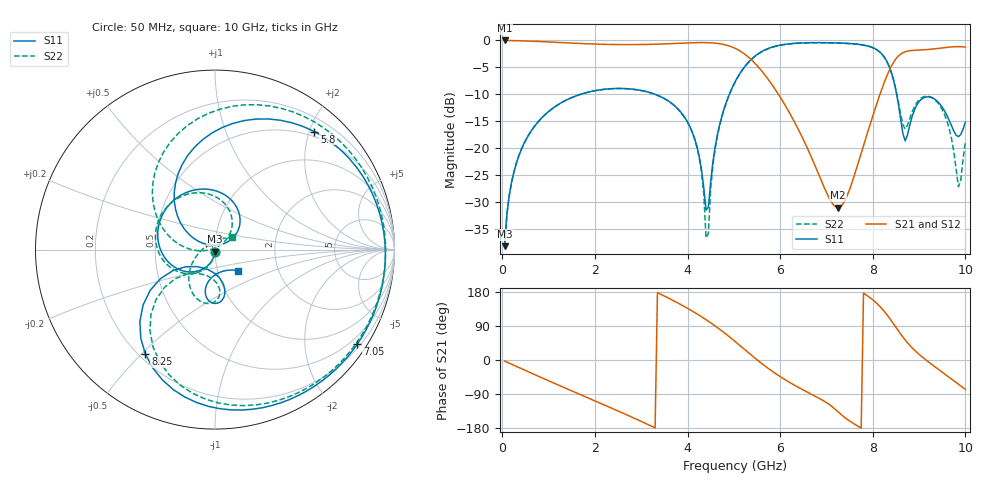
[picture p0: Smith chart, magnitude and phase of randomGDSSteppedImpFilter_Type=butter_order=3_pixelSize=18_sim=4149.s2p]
! freq	dB(S11)	phase(S11)	dB(S12)	phase(S12)
!  dB(S21)	phase(S21)	dB(S22)	phase(S22)
!S-par simulation data
#  GHz  S  DB  R 50
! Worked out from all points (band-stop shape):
!   200 points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, 50 MHz to 10 GHz, reference 50 ohm
!   highest |S21| = -0.01 dB at 50 MHz (marker M1); lowest = -31.0 dB at 7.25 GHz (marker M2)
!   |S21| within 3 dB of the highest: start of sweep to 5.302 GHz; 8.542 GHz to end of sweep
!   lowest |S11| = -38.2 dB at 50 MHz (marker M3), VSWR 1.02, Z = 49.9 - j1.23 ohm
!   |S11| at or under -10 dB: start of sweep to 1.691 GHz; 3.299 GHz to 4.902 GHz (1.603 GHz wide, 39.1 % of centre); 8.515 GHz to end of sweep
!   |S22| runs from -38.2 to -0.4 dB; largest |S21 - S12| = 0
!   S11 on the Smith chart (normalised r, x): 50 MHz: 1.00, -0.02; 5.8 GHz: 0.41, +2.08; 7.05 GHz: 0.29, -3.28; 8.25 GHz: 0.23, -0.51; 10 GHz: 1.26, -0.30
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0.05  -38.18 -92.3  -0.01 -2.8  -0.01 -2.8  -38.18 -92.0
0.2  -26.33 -101.7  -0.03 -11.1  -0.03 -11.1  -26.33 -100.8
0.5  -18.60 -119.3  -0.10 -27.7  -0.10 -27.7  -18.60 -116.9
1.75  -9.84 170.3  -0.59 -94.7  -0.59 -94.7  -9.85 178.9
3.4  -10.36 77.1  -0.68 174.8  -0.68 174.8  -10.38 92.8
4.15  -18.13 33.6  -0.42 125.6  -0.42 125.6  -18.24 47.0
4.3  -23.87 33.1  -0.40 114.3  -0.40 114.3  -24.34 39.7
4.4  -31.48 68.4  -0.41 106.4  -0.41 106.4  -36.62 59.8
4.65  -17.30 152.0  -0.55 85.1  -0.55 85.1  -17.51 179.8
5.05  -7.31 120.7  -1.56 46.5  -1.56 46.5  -7.37 143.5
5.8  -1.31 49.9  -7.91 -27.2  -7.91 -27.2  -1.35 69.3
6.7  -0.42 -13.2  -22.16 -91.9  -22.16 -91.9  -0.44 1.7
7.05  -0.43 -33.7  -29.12 -116.5  -29.12 -116.5  -0.45 -20.6
7.25  -0.47 -45.2  -31.03 -136.5  -31.03 -136.5  -0.49 -33.2
7.85  -0.94 -84.2  -18.15 172.3  -18.15 172.3  -0.97 -75.3
8.25  -3.11 -123.7  -7.75 128.2  -7.75 128.2  -3.14 -116.3
8.35  -4.74 -136.3  -5.67 112.4  -5.67 112.4  -4.75 -128.8
8.7  -18.62 -111.8  -2.11 52.8  -2.11 52.8  -16.44 -109.4
9.05  -10.92 -82.0  -1.77 9.7  -1.77 9.7  -10.66 -90.9
9.55  -13.08 -103.7  -1.33 -36.4  -1.33 -36.4  -13.76 -135.1
9.85  -17.86 -71.2  -1.15 -63.6  -1.15 -63.6  -27.15 133.6
10  -15.18 -42.2  -1.23 -77.5  -1.23 -77.5  -18.74 36.9
